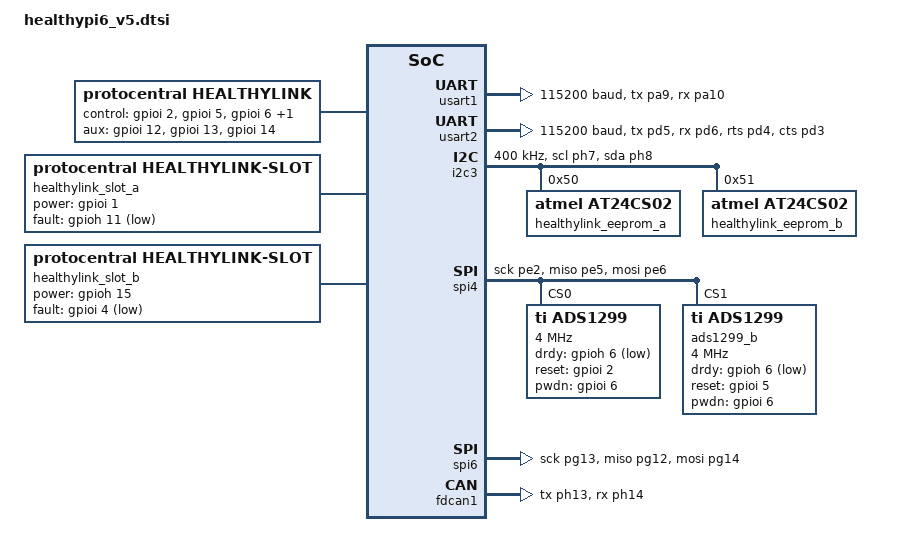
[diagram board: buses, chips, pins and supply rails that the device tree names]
/*
 * Copyright (c) 2019 Linaro Limited
 * Copyright (c) 2025-2026 ProtoCentral
 *
 * SPDX-License-Identifier: Apache-2.0
 */

#include <zephyr/dt-bindings/input/input-event-codes.h>
#include <zephyr/dt-bindings/gpio/gpio.h>
#include <zephyr/dt-bindings/i2c/i2c.h>
#include <zephyr/dt-bindings/clock/stm32h7_clock.h>

&usart1 {
	pinctrl-0 = <&usart1_tx_pa9 &usart1_rx_pa10>;
	pinctrl-names = "default";
	current-speed = <115200>;
};

/*
 * USART2 - HealthyLink Expansion UART with Hardware Flow Control
 * This is the primary serial interface for HealthyLink modules.
 * RTS/CTS enables reliable high-speed communication with module MCUs.
 */
&usart2 {
	pinctrl-0 = <&usart2_tx_pd5 &usart2_rx_pd6 &usart2_rts_pd4 &usart2_cts_pd3>;
	pinctrl-names = "default";
	current-speed = <115200>;
};

&mailbox {
	status = "okay";
};

&rcc {
	d1cpre = <1>;
	hpre = <2>;
	d1ppre = <2>;
	d2ppre1 = <2>;
	d2ppre2 = <2>;
	d3ppre = <2>;
};

/*
 * HealthyLink expansion port (two DF9 slots).
 *
 *   SPI4    PE2 SCK, PE5 MISO, PE6 MOSI; CS_A PE4, CS_B PE3 (plain GPIO)
 *   SPI6    PG13 SCK, PG12 MISO, PG14 MOSI; no CS assigned
 *   USART2  PD5 TX, PD6 RX, PD4 RTS, PD3 CTS
 *   UART4   PA0 TX, PI9 RX, PA15 RTS, PB0 CTS   - ESP32-C6 HealthyBridge
 *   FDCAN1  PH13 TX, PH14 RX
 *   I2C3    PH7 SCL, PH8 SDA                    - slot ID EEPROMs
 *   ADC     PA1, PA2, PA3, PC0, PC1, PC4        - in the M7 DTS
 *
 *   Slot A  EN_MOD PI1,  FLT PH11, RESET PI2, EEPROM 0x50
 *   Slot B  EN_MOD PH15, FLT PI4,  RESET PI5, EEPROM 0x51
 *   Shared  PWDN PI6, DRDY PH6, aux PI12-PI14
 *   Other   PA11 ESP32-C6 reset; PI3 user button (active low, external pull-up)
 *
 * No START, detect or StackLink GPIO: the ADS1299 is started with SPI opcodes,
 * modules are identified by their ID EEPROM, and StackLink is module-to-module.
 */

&i2c3 {
	status = "okay";
	pinctrl-0 = <&i2c3_scl_ph7 &i2c3_sda_ph8>;
	pinctrl-names = "default";
	clock-frequency = <I2C_BITRATE_FAST>;

	/* Slot ID EEPROMs (AT24CS02) on the always-on rail. A0 is strapped per
	 * slot: GND on A (0x50), 3V3 on B (0x51). HealthyLink reads them over raw
	 * I2C; CONFIG_EEPROM is off. */
	healthylink_eeprom_a: eeprom@50 {
		compatible = "atmel,at24cs02", "atmel,at24";
		reg = <0x50>;
		size = <256>;
		pagesize = <16>;
		address-width = <8>;
		timeout = <5>;  /* tWR = 5 ms */
		status = "okay";
	};

	healthylink_eeprom_b: eeprom@51 {
		compatible = "atmel,at24cs02", "atmel,at24";
		reg = <0x51>;
		size = <256>;
		pagesize = <16>;
		address-width = <8>;
		timeout = <5>;  /* tWR = 5 ms */
		status = "okay";
	};
};

/* Module type written to a blank ID EEPROM by HealthyLink auto-provisioning,
 * which is OFF (CONFIG_HEALTHYLINK_AUTO_PROVISION=n in app_m7/prj.conf): this
 * node is inert, and is kept only for a production line that turns
 * auto-provisioning on for one module type per station. Modules are otherwise
 * programmed deliberately with `healthypi hl eeprom program`. Note it is
 * board-wide, NOT per slot -- whatever it names is what a blank EEPROM becomes
 * in either slot. */
/ {
	healthylink_default_compute: healthylink-compute-default {
		compatible = "protocentral,healthylink-compute";
		status = "okay";
	};

	chosen {
		healthylink-module = &healthylink_default_compute;
	};
};

/* SPI4 -- HealthyLink primary bus, shared by both slots. */
&spi4 {
	status = "okay";
	/* Kernel clock stays at the reset default (PLL1_Q): an explicit PLL2_Q
	 * override wedged spi_transceive at driver setup. */
	pinctrl-0 = <&spi4_sck_pe2 &spi4_miso_pe5 &spi4_mosi_pe6>;
	pinctrl-names = "default";
	/* st,soft-nss, not cs-gpios: cs-gpios wedges the first transceive on this
	 * board. SPI4 users drive CS_A (PE4) / CS_B (PE3) as plain GPIOs. */
	st,soft-nss;

	/* ADS1299 EEG front end, one node per slot (they differ only in reset),
	 * brought up by mod_eeg.c when a slot EEPROM reports an EEG module. */
	ads1299: ads1299@0 {
		compatible = "ti,ads1299";
		reg = <0>;
		spi-max-frequency = <4000000>;
		drdy-gpios = <&gpioh 6 GPIO_ACTIVE_LOW>;
		reset-gpios = <&gpioi 2 GPIO_ACTIVE_HIGH>;  /* MOD_RESET_A */
		pwdn-gpios = <&gpioi 6 GPIO_ACTIVE_HIGH>;
		gain = <24>;
		sample-rate = <250>;
		bias-enabled;
		srb1-enabled;
		status = "okay";
		zephyr,deferred-init;
	};

	ads1299_b: ads1299@1 {
		compatible = "ti,ads1299";
		reg = <1>;
		spi-max-frequency = <4000000>;
		drdy-gpios = <&gpioh 6 GPIO_ACTIVE_LOW>;
		reset-gpios = <&gpioi 5 GPIO_ACTIVE_HIGH>;  /* MOD_RESET_B */
		pwdn-gpios = <&gpioi 6 GPIO_ACTIVE_HIGH>;
		gain = <24>;
		sample-rate = <250>;
		bias-enabled;
		srb1-enabled;
		status = "okay";
		zephyr,deferred-init;
	};
};

/* SPI6 -- HealthyLink secondary bus. No cs-gpios: PA15 (SPI6 NSS on v3/v4) is
 * UART4 RTS on v5, so a SPI6 user brings its own CS. */
&spi6 {
	status = "okay";
	pinctrl-0 = <&spi6_sck_pg13 &spi6_miso_pg12 &spi6_mosi_pg14>;
	pinctrl-names = "default";
};

/* FDCAN1 -- for HealthyLink CAN modules. */
&fdcan1 {
	status = "okay";
	pinctrl-0 = <&fdcan1_tx_ph13 &fdcan1_rx_ph14>;
	pinctrl-names = "default";
	sample-point = <875>;
	sample-point-data = <875>;
};

/* USB OTG FS -- disabled: PA11 is the ESP32-C6 reset line. A USB-host module
 * overlay may enable it, and must supply 5 V VBUS with overcurrent protection. */
&usbotg_fs {
	status = "disabled";
	pinctrl-0 = <&usb_otg_fs_dm_pa11 &usb_otg_fs_dp_pa12>;
	pinctrl-names = "default";
};

/ {
	/* Port description only: no binding or driver uses this node. */
	healthylink: healthylink {
		compatible = "protocentral,healthylink";
		status = "okay";
		control-gpios = <&gpioi 2 GPIO_ACTIVE_HIGH>,   /* MOD_RESET_A */
		                <&gpioi 5 GPIO_ACTIVE_HIGH>,   /* MOD_RESET_B */
		                <&gpioi 6 GPIO_ACTIVE_HIGH>,   /* PWDN, shared */
		                <&gpioh 6 GPIO_ACTIVE_LOW>;    /* DRDY, shared */
		aux-gpios = <&gpioi 12 GPIO_ACTIVE_HIGH>,
		            <&gpioi 13 GPIO_ACTIVE_HIGH>,
		            <&gpioi 14 GPIO_ACTIVE_HIGH>;
	};

	/* Module slots: load switch, fault input and ID EEPROM. Driven by
	 * drivers/misc/healthylink/healthylink_core.c, one device per slot. */
	healthylink_slot_a: healthylink-slot-a {
		compatible = "protocentral,healthylink-slot";
		status = "okay";
		slot-label = "A";
		power-gpios = <&gpioi 1 GPIO_ACTIVE_HIGH>;                  /* EN_MOD_A */
		fault-gpios = <&gpioh 11 (GPIO_ACTIVE_LOW | GPIO_PULL_UP)>; /* MOD_A_FLT */
		eeprom = <&healthylink_eeprom_a>;
	};

	healthylink_slot_b: healthylink-slot-b {
		compatible = "protocentral,healthylink-slot";
		status = "okay";
		slot-label = "B";
		power-gpios = <&gpioh 15 GPIO_ACTIVE_HIGH>;                /* EN_MOD_B */
		fault-gpios = <&gpioi 4 (GPIO_ACTIVE_LOW | GPIO_PULL_UP)>; /* MOD_B_FLT */
		eeprom = <&healthylink_eeprom_b>;
	};
};
